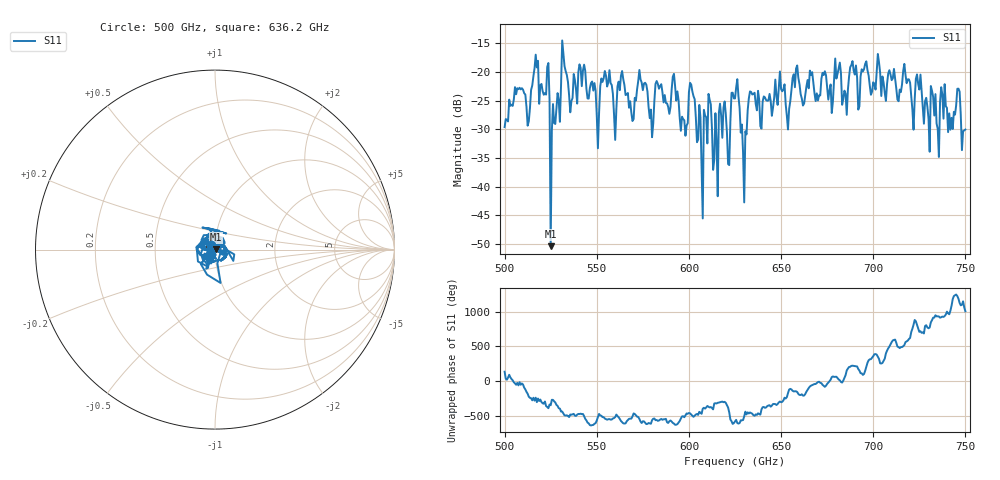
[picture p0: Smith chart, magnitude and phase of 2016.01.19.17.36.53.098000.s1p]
!Created with skrf (http://scikit-rf.org).
# GHz S RI R 50.0
!freq ReS11 ImS11
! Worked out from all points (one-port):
!   401 points, 500 GHz to 750 GHz, reference 50 ohm
!   lowest |S11| = -50.4 dB at 525 GHz (marker M1), VSWR 1.01, Z = 50.3 + j0.0566 ohm
!   |S11| at or under -10 dB: start of sweep to end of sweep
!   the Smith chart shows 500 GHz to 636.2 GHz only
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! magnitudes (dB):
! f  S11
! 500 GHz  -29.6
! 506.9 GHz  -22.8
! 513.1 GHz  -28.6
! 516.9 GHz  -17.0
! 523.1 GHz  -19.1
! 525 GHz  -50.4
! 526.2 GHz  -25.6
! 531.2 GHz  -14.5
! 550.6 GHz  -33.3
! 562.5 GHz  -23.2
! 574.4 GHz  -21.8
! 579.4 GHz  -26.6
! 583.1 GHz  -22.1
! 593.8 GHz  -23.4
! 598.1 GHz  -31.1
! 601.9 GHz  -23.4
! 606.2 GHz  -27.9
! 610.6 GHz  -23.8
! 614.4 GHz  -27.2
! 625 GHz  -24.6
! 630 GHz  -42.7
! 633.8 GHz  -23.5
! 656.2 GHz  -21.0
! 680.6 GHz  -20.4
! 684.4 GHz  -23.3
! 687.5 GHz  -19.2
! 718.8 GHz  -21.3
! 750 GHz  -30.0
